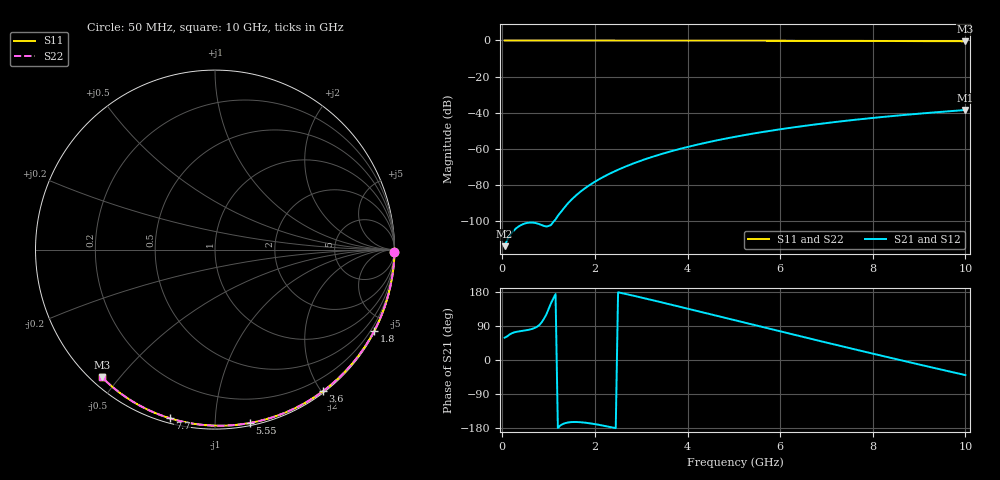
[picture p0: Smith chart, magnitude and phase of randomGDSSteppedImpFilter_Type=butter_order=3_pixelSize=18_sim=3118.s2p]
! freq	dB(S11)	phase(S11)	dB(S12)	phase(S12)
!  dB(S21)	phase(S21)	dB(S22)	phase(S22)
!S-par simulation data
#  GHz  S  DB  R 50
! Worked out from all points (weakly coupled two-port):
!   200 points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, 50 MHz to 10 GHz, reference 50 ohm
!   highest |S21| = -38.44 dB at 10 GHz (marker M1); lowest = -113.7 dB at 50 MHz (marker M2)
!   lowest |S11| = -0.4 dB at 10 GHz (marker M3), VSWR 38.95, Z = 1.54 - j22.5 ohm
!   |S11| at or under -10 dB: nowhere
!   |S22| runs from -0.4 to 0.0 dB; largest |S21 - S12| = 0
!   S11 on the Smith chart (normalised r, x): 50 MHz: open; 1.8 GHz: 0.04, -4.17; 3.6 GHz: 0.02, -2.02; 5.55 GHz: 0.02, -1.22; 7.7 GHz: 0.02, -0.77; 10 GHz: 0.03, -0.45
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0.05  -0.00 -0.8  -113.67 58.9  -113.67 58.9  -0.00 -0.8
0.9  -0.02 -13.6  -102.50 108.9  -102.50 108.9  -0.02 -13.6
1.75  -0.03 -26.2  -82.35 -164.9  -82.35 -164.9  -0.03 -26.2
1.8  -0.03 -26.9  -81.42 -165.6  -81.42 -165.6  -0.03 -26.9
1.85  -0.04 -27.7  -80.53 -166.4  -80.53 -166.4  -0.04 -27.7
1.9  -0.04 -28.4  -79.67 -167.3  -79.67 -167.3  -0.04 -28.4
2.05  -0.04 -30.6  -77.30 -170.3  -77.30 -170.3  -0.04 -30.6
2.25  -0.04 -33.5  -74.50 -174.9  -74.50 -174.9  -0.04 -33.5
2.45  -0.05 -36.4  -72.02 -179.9  -72.02 -179.9  -0.05 -36.4
2.65  -0.05 -39.3  -69.80 174.7  -69.80 174.7  -0.05 -39.3
3  -0.06 -44.3  -66.38 164.9  -66.38 164.9  -0.06 -44.3
3.4  -0.07 -49.9  -63.04 153.3  -63.04 153.3  -0.07 -49.9
3.6  -0.07 -52.7  -61.55 147.4  -61.55 147.4  -0.07 -52.7
4.3  -0.09 -62.2  -57.04 126.5  -57.04 126.5  -0.09 -62.2
5.05  -0.11 -72.2  -53.12 104.0  -53.12 104.0  -0.11 -72.2
5.55  -0.13 -78.7  -50.89 89.0  -50.89 89.0  -0.13 -78.7
6.1  -0.15 -85.6  -48.71 72.6  -48.71 72.6  -0.15 -85.6
6.7  -0.18 -93.1  -46.61 54.8  -46.61 54.8  -0.18 -93.1
7.7  -0.24 -105.1  -43.61 25.5  -43.61 25.5  -0.24 -105.1
8.35  -0.29 -112.7  -41.94 6.7  -41.94 6.7  -0.29 -112.7
9.15  -0.36 -121.8  -40.13 -16.1  -40.13 -16.1  -0.36 -121.8
10  -0.45 -131.4  -38.44 -39.9  -38.44 -39.9  -0.44 -131.4
